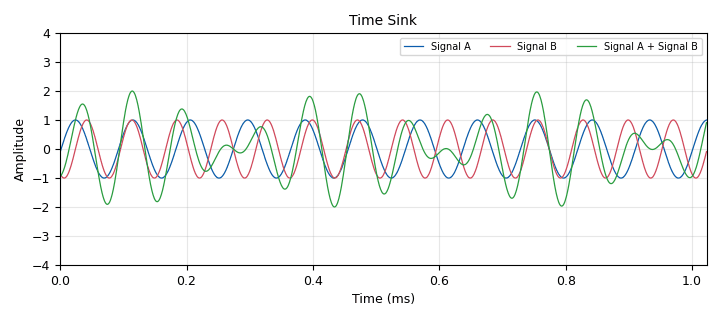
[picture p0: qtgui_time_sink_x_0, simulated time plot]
<?xml version='1.0' encoding='utf-8'?>
<?grc format='1' created='3.7.10'?>
<flow_graph>
<block>
<key>options</key>
<param><key>id</key><value>lab1_1</value></param>
<param><key>category</key><value>Custom</value></param>
<param><key>generate_options</key><value>qt_gui</value></param>
</block>
<block>
<key>variable</key>
<param><key>id</key><value>freq_a</value></param>
<param><key>value</key><value>11e3</value></param>
</block>
<block>
<key>variable</key>
<param><key>id</key><value>freq_b</value></param>
<param><key>value</key><value>14e3</value></param>
</block>
<block>
<key>variable</key>
<param><key>id</key><value>samp_rate</value></param>
<param><key>value</key><value>1000e3</value></param>
</block>
<block>
<key>blocks_add_xx</key>
<param><key>id</key><value>blocks_add_xx_0</value></param>
<param><key>type</key><value>float</value></param>
</block>
<block>
<key>blocks_throttle</key>
<param><key>id</key><value>blocks_throttle_0</value></param>
<param><key>samples_per_second</key><value>samp_rate</value></param>
<param><key>type</key><value>float</value></param>
</block>
<block>
<key>qtgui_time_sink_x</key>
<param><key>id</key><value>qtgui_time_sink_x_0</value></param>
<param><key>ctrlpanel</key><value>True</value></param>
<param><key>grid</key><value>True</value></param>
<param><key>color1</key><value>"blue"</value></param>
<param><key>label1</key><value>Signal A</value></param>
<param><key>color2</key><value>"red"</value></param>
<param><key>label2</key><value>Signal B</value></param>
<param><key>color3</key><value>"green"</value></param>
<param><key>label3</key><value>Signal A + Signal B</value></param>
<param><key>name</key><value>"Time Sink"</value></param>
<param><key>nconnections</key><value>3</value></param>
<param><key>size</key><value>1024</value></param>
<param><key>srate</key><value>samp_rate</value></param>
<param><key>type</key><value>float</value></param>
<param><key>ymax</key><value>4</value></param>
<param><key>ymin</key><value>-4</value></param>
</block>
<block>
<key>analog_sig_source_x</key>
<param><key>id</key><value>signal_A</value></param>
<param><key>amp</key><value>1</value></param>
<param><key>freq</key><value>freq_a</value></param>
<param><key>offset</key><value>0</value></param>
<param><key>type</key><value>float</value></param>
<param><key>samp_rate</key><value>samp_rate</value></param>
<param><key>waveform</key><value>analog.GR_COS_WAVE</value></param>
</block>
<block>
<key>analog_sig_source_x</key>
<param><key>id</key><value>signal_B</value></param>
<param><key>amp</key><value>1</value></param>
<param><key>freq</key><value>freq_b</value></param>
<param><key>offset</key><value>0</value></param>
<param><key>type</key><value>float</value></param>
<param><key>samp_rate</key><value>samp_rate</value></param>
<param><key>waveform</key><value>analog.GR_SIN_WAVE</value></param>
</block>
<connection><source_block_id>blocks_add_xx_0</source_block_id><sink_block_id>qtgui_time_sink_x_0</sink_block_id><source_key>0</source_key><sink_key>2</sink_key></connection>
<connection><source_block_id>blocks_throttle_0</source_block_id><sink_block_id>qtgui_time_sink_x_0</sink_block_id><source_key>0</source_key><sink_key>1</sink_key></connection>
<connection><source_block_id>signal_A</source_block_id><sink_block_id>blocks_add_xx_0</sink_block_id><source_key>0</source_key><sink_key>0</sink_key></connection>
<connection><source_block_id>signal_A</source_block_id><sink_block_id>qtgui_time_sink_x_0</sink_block_id><source_key>0</source_key><sink_key>0</sink_key></connection>
<connection><source_block_id>signal_B</source_block_id><sink_block_id>blocks_add_xx_0</sink_block_id><source_key>0</source_key><sink_key>1</sink_key></connection>
<connection><source_block_id>signal_B</source_block_id><sink_block_id>blocks_throttle_0</sink_block_id><source_key>0</source_key><sink_key>0</sink_key></connection>
</flow_graph>
